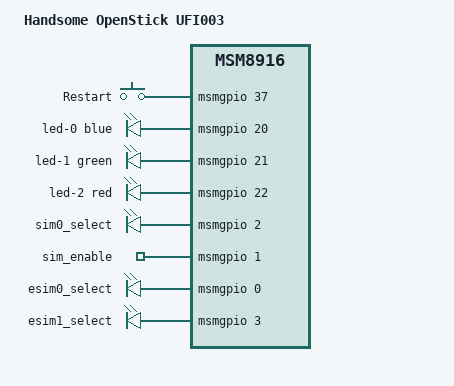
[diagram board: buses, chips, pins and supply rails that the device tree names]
// SPDX-License-Identifier: GPL-2.0-only
/*
 * Copyright (C) 2021-2022 HandsomeYingyan <handsomeyingyan@gmail.com>
 *
 */
 
/dts-v1/;
#include "msm8916-handsome-openstick-common.dtsi"
#include "dt-bindings/leds/common.h"

/ {
	model = "Handsome OpenStick UFI003";
	compatible = "handsome,openstick", "qcom,msm8916";

	gpio-keys {
		compatible = "gpio-keys";
		#address-cells = <1>;
		#size-cells = <0>;
		autorepeat;

		pinctrl-names = "default";
		pinctrl-0 = <&gpio_keys_default>;
		label = "GPIO Buttons";

		/* original is suspend */
		reset {
			label = "Restart";
			gpios = <&msmgpio 37 GPIO_ACTIVE_HIGH>;
			linux,code = <KEY_RESTART>;
			debounce-interval = <60>;
		};
	};

	leds {
		pinctrl-names = "default";
		pinctrl-0 = <&msmgpio_leds>;

		compatible = "gpio-leds";

		led-0 {
			gpios = <&msmgpio 20 GPIO_ACTIVE_HIGH>;
			color = <LED_COLOR_ID_BLUE>;
			linux,default-trigger = "phy0tx";
			default-state = "off";
			retain-state-suspended;
		};

		led-1 {
			gpios = <&msmgpio 21 GPIO_ACTIVE_HIGH>;
			color = <LED_COLOR_ID_GREEN>;
			default-state = "off";
			retain-state-suspended;
		};

		led-2 {
			gpios = <&msmgpio 22 GPIO_ACTIVE_HIGH>;
			color = <LED_COLOR_ID_RED>;
			linux,default-trigger = "mmc0";
			default-state = "on";
			retain-state-suspended;
		};

		sim0-select {
			label = "sim0_select";
			gpios = <&msmgpio 2 GPIO_ACTIVE_HIGH>;
			default-state = "off";
			retain-state-suspended;
		};

		sim-enable {
			label = "sim_enable";
			gpios = <&msmgpio 1 GPIO_ACTIVE_HIGH>;
			default-state = "off";
			retain-state-suspended;
		};

		esim0-select {
			label = "esim0_select";
			gpios = <&msmgpio 0 GPIO_ACTIVE_HIGH>;
			default-state = "on";
			retain-state-suspended;
		};

		esim1-select {
			label = "esim1_select";
			gpios = <&msmgpio 3 GPIO_ACTIVE_HIGH>;
			default-state = "off";
			retain-state-suspended;
		};

	};
};

&msmgpio {
	msmgpio_leds: msmgpio-leds {
		pins = "gpio0","gpio1","gpio2","gpio3","gpio20","gpio21","gpio22";
		function = "gpio";

		drive-strength = <2>;
		output-low;
		bias-disabled;
	};

	gpio_keys_default: gpio_keys_default {
		pins = "gpio37";
		function = "gpio";

		drive-strength = <8>;
		input-enable;
		bias-pull-down;
	};
};
